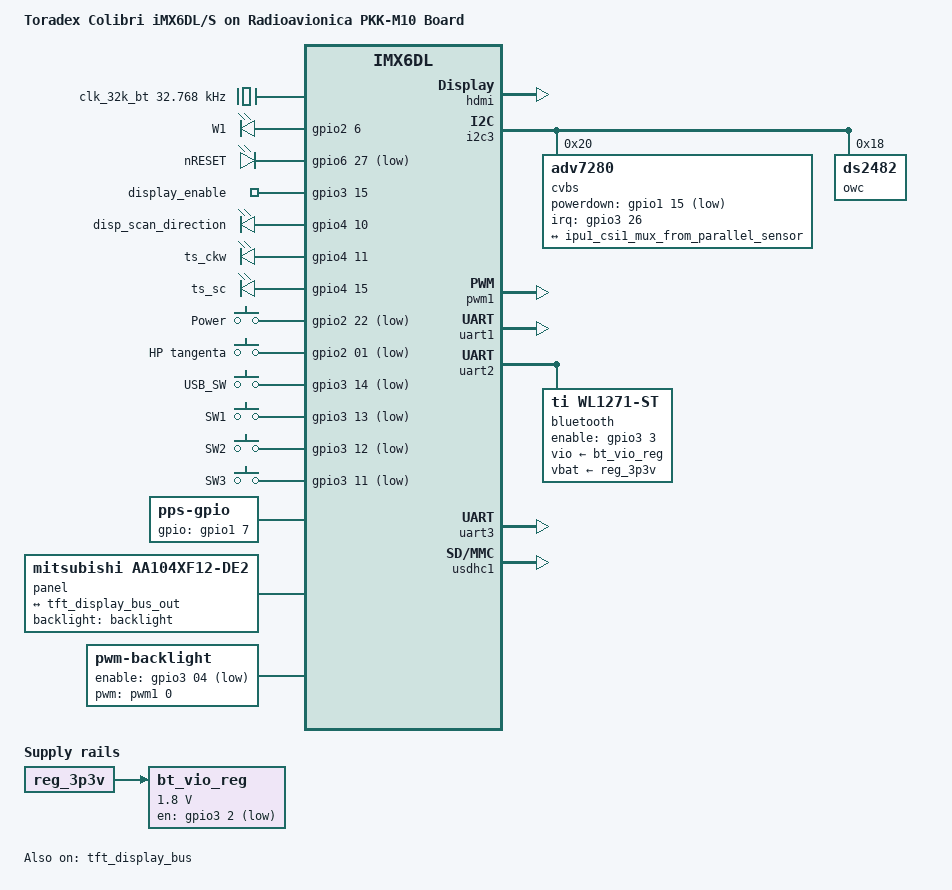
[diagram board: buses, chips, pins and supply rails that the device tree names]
/*
 * Copyright 2014-2016 Toradex AG
 * Copyright 2012 Freescale Semiconductor, Inc.
 * Copyright 2011 Linaro Ltd.
 *
 * This file is dual-licensed: you can use it either under the terms
 * of the GPL or the X11 license, at your option. Note that this dual
 * licensing only applies to this file, and not this project as a
 * whole.
 *
 *  a) This file is free software; you can redistribute it and/or
 *     modify it under the terms of the GNU General Public License
 *     version 2 as published by the Free Software Foundation.
 *
 *     This file is distributed in the hope that it will be useful
 *     but WITHOUT ANY WARRANTY; without even the implied warranty of
 *     MERCHANTABILITY or FITNESS FOR A PARTICULAR PURPOSE.  See the
 *     GNU General Public License for more details.
 *
 * Or, alternatively
 *
 *  b) Permission is hereby granted, free of charge, to any person
 *     obtaining a copy of this software and associated documentation
 *     files (the "Software"), to deal in the Software without
 *     restriction, including without limitation the rights to use
 *     copy, modify, merge, publish, distribute, sublicense, and/or
 *     sell copies of the Software, and to permit persons to whom the
 *     Software is furnished to do so, subject to the following
 *     conditions:
 *
 *     The above copyright notice and this permission notice shall be
 *     included in all copies or substantial portions of the Software.
 *
 *     THE SOFTWARE IS PROVIDED , WITHOUT WARRANTY OF ANY KIND
 *     EXPRESS OR IMPLIED, INCLUDING BUT NOT LIMITED TO THE WARRANTIES
 *     OF MERCHANTABILITY, FITNESS FOR A PARTICULAR PURPOSE AND
 *     NONINFRINGEMENT. IN NO EVENT SHALL THE AUTHORS OR COPYRIGHT
 *     HOLDERS BE LIABLE FOR ANY CLAIM, DAMAGES OR OTHER LIABILITY
 *     WHETHER IN AN ACTION OF CONTRACT, TORT OR OTHERWISE, ARISING
 *     FROM, OUT OF OR IN CONNECTION WITH THE SOFTWARE OR THE USE OR
 *     OTHER DEALINGS IN THE SOFTWARE.
 */

/dts-v1/;

#include <dt-bindings/input/input.h>
#include <dt-bindings/interrupt-controller/irq.h>
#include "imx6dl.dtsi"
#include "imx6qdl-colibri-ravion.dtsi"

/ {
	model = "Toradex Colibri iMX6DL/S on Radioavionica PKK-M10 Board";
	compatible = "toradex,mcp", "toradex,colibri_imx6dl-eval",
		"toradex,colibri_imx6dl", "fsl,imx6dl";

	/*
	 * Device specific clocks
	 */
	clocks {
		clk_32k_bt: bt_clk {
			compatible = "fixed-clock";
			#clock-cells = <0>;
			clock-frequency = <32768>;
			clock-accuracy = <100>;
		 };
	};

	/*
	 * Device specific regulators
	 */
	bt_vio_reg: bt_vio {
			pinctrl-names = "default";
			pinctrl-0 = <&pinctrl_reg_bt_cif>;
			compatible = "regulator-fixed";
			regulator-name = "VIO_BT";
			regulator-min-microvolt = <1800000>;
			regulator-max-microvolt = <1800000>;
			gpio = <&gpio3 2 GPIO_ACTIVE_LOW>;
			regulator-always-on;
			vin-supply = <&reg_3p3v>;
	};

	/*
	 * Device specific leds
	 */
	gpio-leds {
		compatible = "gpio-leds";
		pinctrl-names = "default";
		pinctrl-0 = <&pinctrl_gpio_leds>;

		w1 {
			label = "W1";
			gpios = <&gpio2 6 GPIO_ACTIVE_HIGH>;
			default-state = "on";
		};

		nreset {
			label = "nRESET";
			gpios = <&gpio6 27 GPIO_ACTIVE_LOW>;
			default-state = "off";
		};

		disp_en {
			label = "display_enable";
			gpios = <&gpio3 15 GPIO_ACTIVE_HIGH>; /* SODIMM 124 */
			default-state = "on";
		};

		scan_dir {
			label = "disp_scan_direction";
			gpios = <&gpio4 10 GPIO_ACTIVE_HIGH>; /* SODIMM 184 */
			default-state = "on";
		};

		ts_ckw {
			label = "ts_ckw";
			gpios = <&gpio4 11 GPIO_ACTIVE_HIGH>; /* SODIMM 186 */
			default-state = "off";
		};

		ts_sc {
			label = "ts_sc";
			gpios = <&gpio4 15 GPIO_ACTIVE_HIGH>; /* SODIMM 188 */
			default-state = "off";
		};
	};

	/*
	 * Device specific keys
	 */
	gpio-keys {
		compatible = "gpio-keys";
		pinctrl-names = "default";
		pinctrl-0 = <&pinctrl_gpio_keys>;

		power {
			label = "Power";
			gpios = <&gpio2 22 GPIO_ACTIVE_LOW>; /* SODIMM 45 */
			linux,code = <KEY_POWER>;
			debounce-interval = <100>;
			wakeup-source;
		};

		hp_tangenta {
			label = "HP tangenta";
			gpios = <&gpio2 01 GPIO_ACTIVE_LOW>; /* SODIMM 134 */
			linux,code = <KEY_F13>;
			debounce-interval = <100>;
		};

		usb_sw {
			label = "USB_SW";
			gpios = <&gpio3 14 GPIO_ACTIVE_LOW>; /* SODIMM 122 */
			linux,input-type = <EV_SW>;
			linux,code = <SW_DOCK>;
			debounce-interval = <100>;
		};

		sw_1 {
			label = "SW1";
			gpios = <&gpio3 13 GPIO_ACTIVE_LOW>; /* SODIMM 120 */
			linux,code = <KEY_F1>;
			debounce-interval = <100>;
		};

		sw_2 {
			label = "SW2";
			gpios = <&gpio3 12 GPIO_ACTIVE_LOW>; /* SODIMM 118 */
			linux,code = <KEY_F2>;
			debounce-interval = <100>;
		};

		sw_3 {
			label = "SW3";
			gpios = <&gpio3 11 GPIO_ACTIVE_LOW>; /* SODIMM 116 */
			linux,code = <KEY_F3>;
			debounce-interval = <100>;
		};
	};

	/*
	 * PPS pin from SNS receiver
	 */
	pps {
		compatible = "pps-gpio";
		pinctrl-names = "default";
		pinctrl-0 = <&pinctrl_pps_gpio>;

		gpios = <&gpio1 7 GPIO_ACTIVE_HIGH>; /* soDimm 55 */
		assert-falling-edge;
		status = "okay";
	};

	/*
	 * LCD Panel
	 */
	panel {
		compatible = "mitsubishi,aa104xf12-de2";
		backlight = <&backlight>;

		port {
			lcd_panel_in: endpoint {
				remote-endpoint = <&tft_display_bus_out>;
			};
		};
	};

	backlight: backlight {
		pinctrl-names = "default";
		pinctrl-0 = <&pinctrl_gpio_bl_on>;
		compatible = "pwm-backlight";
		enable-gpios = <&gpio3 04 GPIO_ACTIVE_LOW>;	/* soDimm 119 */
		pwms = <&pwm1 0 2000>; /* FixMe: frequency !!! */
		brightness-levels = <0 31 63 95 127 159 191 223 255>;
		default-brightness-level = <5>;
		status = "okay";
	};
};

/*
 * Display subsystem
 */
&tft_display_bus {
	interface-pix-fmt = "bgr666";
	status = "okay";
};

&tft_display_bus_out {
	remote-endpoint = <&lcd_panel_in>;
};

&hdmi { status = "okay"; };

/*
 * Colibri I2C: I2C3_SDA/SCL on SODIMM 194/196 (e.g. RTC on carrier board)
 */
&i2c3 {
	status = "okay";

	/* Composite video capture interface */
	cvbs: adv7280@20 {
		reg = <0x20>;
		compatible = "adv7280", "adi,adv7280";
		pinctrl-names = "default";
		pinctrl-0 = <&pinctrl_adv7280>;
		interrupt-parent = <&gpio3>;
		interrupts = <26 IRQ_TYPE_LEVEL_LOW>;
		powerdown-gpios = <&gpio1 15 GPIO_ACTIVE_LOW>;
		input-names = "Ain1","Ain2","Ain3","Ain4";
		inputs = <0x00 0x01 0x02 0x03>;
		status = "okay";

		port {
			adv7280_ep: endpoint {
				remote-endpoint = <&ipu1_csi1_mux_from_parallel_sensor>;
				bus-width = <8>;
			};
		};
	};


	i2c_bus_mux: mux@70 { /* I2C bus multiplexer/switch */
		status = "disabled";
		compatible = "nxp,pca9541";
		#address-cells = <1>;
		#size-cells = <0>;
		reg = <0x70>;

		i2c@1 {
			#address-cells = <1>;
			#size-cells = <0>;
			reg = <1>;
			/* Texas Instruments SBS-compatible Fuel Gauge Controller */
			battery1: bq20z655@0b {
				status = "okay";
				compatible = "sbs,sbs-battery";
				reg = <0x0b>;
				sbs,i2c-retry-count = <2>;
				sbs,poll-retry-count = <1>;
			};
		};

		i2c@2 {
			#address-cells = <1>;
			#size-cells = <0>;
			reg = <2>;
			/* Texas Instruments SBS-compatible Fuel Gauge Controller */
			battery2: bq20z655@ob {
				status = "okay";
				compatible = "sbs,sbs-battery";
				reg = <0x0b>;
				sbs,i2c-retry-count = <2>;
				sbs,poll-retry-count = <1>;
			};
		};
	};

	/* Texas Instruments SBS-compatible Fuel Gauge Controller */
	battery0: bq20z655@0b {
		status = "disabled";
		compatible = "sbs,sbs-battery";
		reg = <0x0b>;
		sbs,i2c-retry-count = <2>;
		sbs,poll-retry-count = <1>;
	};

	/* DS2484: I2C to OneWire Converter */
	owc: ds2482@18 {
		status = "okay";
		compatible = "ds2482";
		reg = <0x18>;
	};
};

/*
 * Composite video capture
 */
&ipu1_csi1 {
	pinctrl-names = "default";
	pinctrl-0 = <&pinctrl_ipu1_csi1>;

	fim {
		status = "okay";
	};
};

&ipu1_csi1_from_ipu1_csi1_mux {
};

&ipu1_csi1_mux_from_parallel_sensor {
	remote-endpoint = <&adv7280_ep>;
};

/* Only pwm1 used as bright contol, all other - disabled  */
&pwm1 { status = "okay";	}; /* soDimm 28 - LCD bright */

/* uart1 - sys (3w), uart2 - bluetoth (H3), uart3 disabled by default */
&uart1 { status = "okay"; }; /* default full feature uart */
&uart2 { /* default have CTS/RTS pins */
	status = "okay";

	bluetooth {
		pinctrl-names = "default";
		pinctrl-0 = <&pinctrl_bluetooth>;

		enable-gpios	= <&gpio3 3 GPIO_ACTIVE_HIGH>;
		compatible	= "ti,wl1271-st";
		clocks		= <&clk_32k_bt 0>;
		clock-names	= "ext_clock";
		max-speed	= <3686400>;
		/*
		 * Params not found in source, but described in documentation
		 */
		current-speed	= <115200>;
		vio-supply	= <&bt_vio_reg>;
		vbat-supply	= <&reg_3p3v>;
		status = "okay";
	};
};
&uart3 { status = "okay"; }; /* default 3-wire uart */

/* external mmc card */
&usdhc1 { status = "okay"; };

/* Board specific io muxing */
&iomuxc {
	pinctrl_gpio_bl_on: gpioblon {
		fsl,pins = <
			MX6QDL_PAD_EIM_DA4__GPIO3_IO04	0x1b0b0 /* soDimm 119 */
		>;
	};

	pinctrl_adv7280: gpio-adv7280 {
		fsl,pins = <
			MX6QDL_PAD_EIM_D26__GPIO3_IO26	0x1b0b0 /* soDimm 71: CIF_D0/CIF_IRQn */
			MX6QDL_PAD_SD2_DAT0__GPIO1_IO15	0x0f058 /* soDimm 98: CIF_D1/CIF_nPDN */
		>;
	};

	pinctrl_bluetooth: gpio-bluetooth {
		fsl,pins = <
			MX6QDL_PAD_EIM_DA3__GPIO3_IO03	0x0f058 /* PU_22K soDimm 117 - nBT_PDN */
		>;
	};

	pinctrl_reg_bt_cif: gpio-reg-bt-cif {
		fsl,pins = <
			MX6QDL_PAD_EIM_DA2__GPIO3_IO02	0x0f058 /* PU_22K soDimm 115: CIF_BT_PWR */
		>;
	};

	pinctrl_gpio_leds: gpio-leds {
		fsl,pins = <
			MX6QDL_PAD_RGMII_RD1__GPIO6_IO27 0xf058 /* PU_22K interal RGMII_RD1 - nRESET OUT */
			MX6QDL_PAD_NANDF_D6__GPIO2_IO06  0xf058 /* PU_22K soDImm 127: SLPZ@DS2484R   */
			MX6QDL_PAD_EIM_DA15__GPIO3_IO15  0xf058 /* PU_22K - soDimm 124. DISP EN */
			MX6QDL_PAD_KEY_COL2__GPIO4_IO10  0xf058 /* PU_22K - soDimm 184. DISP SD */
			MX6QDL_PAD_KEY_ROW2__GPIO4_IO11  0xf058 /* PU_22K - soDimm 186. TS CKW */
			MX6QDL_PAD_KEY_ROW4__GPIO4_IO15	 0xf058 /* PU_22K - soDimm 188. TS_SC */
		>;
	};

	pinctrl_gpio_keys: gpiokeys {
		fsl,pins = <
			MX6QDL_PAD_EIM_A16__GPIO2_IO22		0x1b0b0	/* Power button */
			MX6QDL_PAD_EIM_DA11__GPIO3_IO11		0x1b0b0	/* soDimm 116 */
			MX6QDL_PAD_EIM_DA12__GPIO3_IO12		0x1b0b0	/* soDimm 118 */
			MX6QDL_PAD_EIM_DA13__GPIO3_IO13		0x1b0b0	/* soDimm 120 */
			MX6QDL_PAD_EIM_DA14__GPIO3_IO14		0x1b0b0	/* soDimm 122 */
			MX6QDL_PAD_NANDF_D1__GPIO2_IO01		0x1b0b0 /* Tangenta soDimm 134 */
		>;
	};

	pinctrl_pps_gpio: gpiopps {
		fsl,pins = <
			MX6QDL_PAD_GPIO_7__GPIO1_IO07		0x1b0b0 /* soDimm 55 */
		>;
	};
};
